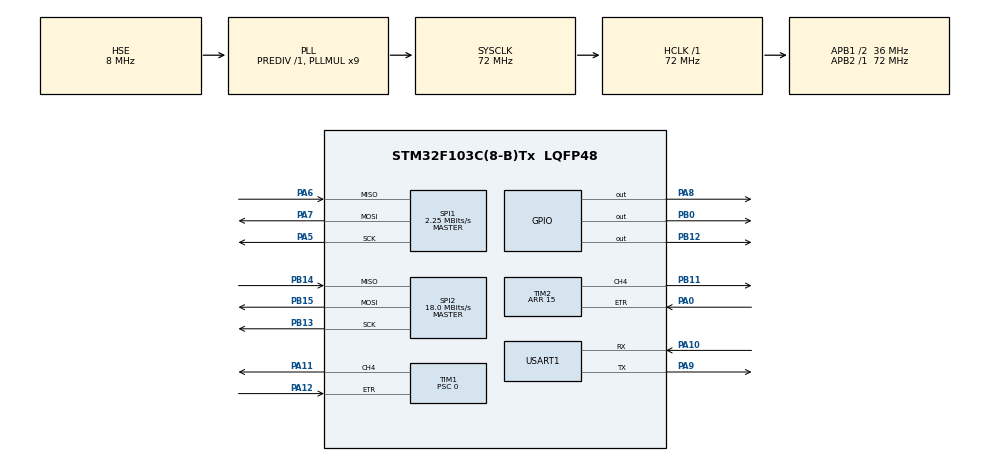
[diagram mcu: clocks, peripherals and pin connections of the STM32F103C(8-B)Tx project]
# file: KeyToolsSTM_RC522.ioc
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Dma.Request0=USART1_RX
Dma.USART1_RX.0.Direction=DMA_PERIPH_TO_MEMORY
Dma.USART1_RX.0.Instance=DMA1_Channel5
Dma.USART1_RX.0.MemDataAlignment=DMA_MDATAALIGN_BYTE
Dma.USART1_RX.0.MemInc=DMA_MINC_ENABLE
Dma.USART1_RX.0.Mode=DMA_NORMAL
Dma.USART1_RX.0.PeriphDataAlignment=DMA_PDATAALIGN_BYTE
Dma.USART1_RX.0.PeriphInc=DMA_PINC_DISABLE
Dma.USART1_RX.0.Priority=DMA_PRIORITY_LOW
Mcu.Family=STM32F1
Mcu.Name=STM32F103C(8-B)Tx
Mcu.Package=LQFP48
NVIC.DMA1_Channel5_IRQn=true\:0\:0\:false\:false\:true\:false\:true
NVIC.PriorityGroup=NVIC_PRIORITYGROUP_4
PA0-WKUP.Signal=S_TIM2_CH1_ETR
PA10.Mode=Asynchronous
PA10.Signal=USART1_RX
PA11.GPIO_Speed=GPIO_SPEED_FREQ_HIGH
PA11.Signal=S_TIM1_CH4
PA12.Signal=S_TIM1_ETR
PA13.Mode=Serial_Wire
PA13.Signal=SYS_JTMS-SWDIO
PA14.Mode=Serial_Wire
PA14.Signal=SYS_JTCK-SWCLK
PA5.Mode=Full_Duplex_Master
PA5.Signal=SPI1_SCK
PA6.Mode=Full_Duplex_Master
PA6.Signal=SPI1_MISO
PA7.Mode=Full_Duplex_Master
PA7.Signal=SPI1_MOSI
PA8.Signal=GPIO_Output
PA9.Mode=Asynchronous
PA9.Signal=USART1_TX
PB0.GPIO_Speed=GPIO_SPEED_FREQ_HIGH
PB0.Signal=GPIO_Output
PB11.GPIO_Speed=GPIO_SPEED_FREQ_HIGH
PB11.Signal=S_TIM2_CH4
PB12.Signal=GPIO_Output
PB13.Mode=Full_Duplex_Master
PB13.Signal=SPI2_SCK
PB14.Mode=Full_Duplex_Master
PB14.Signal=SPI2_MISO
PB15.Mode=Full_Duplex_Master
PB15.Signal=SPI2_MOSI
PD0-OSC_IN.Mode=HSE-External-Oscillator
PD0-OSC_IN.Signal=RCC_OSC_IN
PD1-OSC_OUT.Mode=HSE-External-Oscillator
PD1-OSC_OUT.Signal=RCC_OSC_OUT
ProjectManager.HeapSize=0x400
ProjectManager.StackSize=0x800
ProjectManager.TargetToolchain=EWARM V7
RCC.AHBFreq_Value=72000000
RCC.APB1CLKDivider=RCC_HCLK_DIV2
RCC.APB1Freq_Value=36000000
RCC.APB1TimFreq_Value=72000000
RCC.APB2Freq_Value=72000000
RCC.APB2TimFreq_Value=72000000
RCC.HCLKFreq_Value=72000000
RCC.PLLMUL=RCC_PLL_MUL9
RCC.PLLSourceVirtual=RCC_PLLSOURCE_HSE
RCC.SYSCLKFreq_VALUE=72000000
RCC.SYSCLKSource=RCC_SYSCLKSOURCE_PLLCLK
RCC.USBFreq_Value=72000000
SH.S_TIM1_CH4.0=TIM1_CH4,Output Compare4 CH4
SH.S_TIM1_ETR.0=TIM1_ETR,ClockSourceETR_Mode2
SH.S_TIM2_CH1_ETR.0=TIM2_ETR,ClockSourceETR_Mode2
SH.S_TIM2_CH4.0=TIM2_CH4,PWM Generation4 CH4
SPI1.BaudRatePrescaler=SPI_BAUDRATEPRESCALER_32
SPI1.CalculateBaudRate=2.25 MBits/s
SPI1.Direction=SPI_DIRECTION_2LINES
SPI1.FirstBit=SPI_FIRSTBIT_LSB
SPI1.Mode=SPI_MODE_MASTER
SPI1.VirtualType=VM_MASTER
SPI2.CalculateBaudRate=18.0 MBits/s
SPI2.Direction=SPI_DIRECTION_2LINES
SPI2.Mode=SPI_MODE_MASTER
SPI2.VirtualType=VM_MASTER
TIM1.Channel-Output\ Compare4\ CH4=TIM_CHANNEL_4
TIM1.OCIdleState_4=TIM_OCIDLESTATE_SET
TIM1.OCMode_4=TIM_OCMODE_TOGGLE
TIM1.OCPolarity_4=TIM_OCPOLARITY_LOW
TIM1.Period=65535
TIM1.Prescaler=0
TIM1.Pulse-Output\ Compare4\ CH4=65535
TIM1.TIM_MasterOutputTrigger=TIM_TRGO_OC4REF
TIM1.TIM_MasterSlaveMode=TIM_MASTERSLAVEMODE_DISABLE
TIM2.Channel-PWM\ Generation4\ CH4=TIM_CHANNEL_4
TIM2.OCPolarity_4=TIM_OCPOLARITY_HIGH
TIM2.Period=15
TIM2.Pulse-PWM\ Generation4\ CH4=7
USART1.VirtualMode=VM_ASYNC
VP_TIM2_VS_ClockSourceITR.Mode=TriggerSource_ITR0
VP_TIM2_VS_ControllerModeGated.Mode=Gated Mode
board=custom

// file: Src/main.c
/* USER CODE BEGIN Header */
#define DEBUG
/* USER CODE END Header */

#include "main.h"

/* USER CODE BEGIN Includes */

#include "pn532.h"
#include <MifGrabber.h>
#include "KeyTools.h"
#include "RC522.h"

/* USER CODE END Includes */

SPI_HandleTypeDef hspi1;
SPI_HandleTypeDef hspi2;

TIM_HandleTypeDef htim1;
TIM_HandleTypeDef htim2;

UART_HandleTypeDef huart1;
DMA_HandleTypeDef hdma_usart1_rx;

/* USER CODE BEGIN PV */

extern uint8_t Rx[64];
extern uint8_t RxOK, GtCmd;
extern uint16_t  fv_1;
uint8_t Wait_Tag[] = {"\n\rWaiting Tag"};
uint8_t N_con_A[] = {"\n\rNot connected PN532_A\n\r"};
uint8_t N_con_B[] = {"\n\rNot connected RC522_A\n\r"};
uint8_t CRLF[] = {'\n','\r'};
uint8_t RC522;

/* USER CODE END PV */

void SystemClock_Config(void);
static void MX_GPIO_Init(void);
static void MX_DMA_Init(void);
static void MX_TIM2_Init(void);
static void MX_SPI1_Init(void);
static void MX_USART1_UART_Init(void);
static void MX_TIM1_Init(void);
static void MX_SPI2_Init(void);

int main(void)
{
  /* USER CODE BEGIN 1 */
	  uint8_t i = 0;

  /* USER CODE END 1 */

  /* MCU Configuration--------------------------------------------------------*/

  /* Reset of all peripherals, Initializes the Flash interface and the Systick. */
  HAL_Init();

  /* Configure the system clock */
  SystemClock_Config();

  /* Initialize all configured peripherals */
  MX_GPIO_Init();
  MX_DMA_Init();
  MX_TIM2_Init();
  MX_SPI1_Init();
  MX_USART1_UART_Init();
  MX_TIM1_Init();
  MX_SPI2_Init();
  /* USER CODE BEGIN 2 */

  CS_LOW(&hspi1);
  HAL_Delay(1);
  CS_HIGH(&hspi1);

  for(i = 0;(i < 5) && !(fv_1 = getFirmwareVersion(&hspi1, 1000)); i++);			// Проверка подключения PN532
  if(i == 5){
	   HAL_UART_Transmit(&huart1,N_con_A,(sizeof(N_con_A) - 1),1000);
	   HAL_SPI_MspDeInit(&hspi1);
	   HAL_TIM_Base_MspDeInit(&htim1);
	   HAL_TIM_Base_MspDeInit(&htim2);
	   HAL_UART_MspDeInit(&huart1);
	   HAL_GPIO_DeInit(GPIOB, GPIO_PIN_0|GPIO_PIN_10);
	   while(1){
		   __WFI();
	   }
  }

  PCD_Init(&hspi2,1000);
  RC522 = 0;
  if(PCD_PerformSelfTest(&hspi2, 1000)){
	  RC522 = 1;
  }
  PCD_Init(&hspi2,1000);

  /* USER CODE END 2 */

  /* Infinite loop */
  /* USER CODE BEGIN WHILE */

		RxOK = 0;
		GtCmd = 0;
		HAL_UART_Receive_DMA(&huart1, Rx, 3);

  while (1)
  {
//	  em();
	  if(RxOK){
		  keytools();
		  RxOK = 0;
		  GtCmd = 0;
		  HAL_UART_Receive_DMA(&huart1, Rx, 3);
	  }

    /* USER CODE END WHILE */

  }
}

void SystemClock_Config(void)
{
  RCC_OscInitTypeDef RCC_OscInitStruct = {0};
  RCC_ClkInitTypeDef RCC_ClkInitStruct = {0};

  /** Initializes the CPU, AHB and APB busses clocks
  */
  RCC_OscInitStruct.OscillatorType = RCC_OSCILLATORTYPE_HSE;
  RCC_OscInitStruct.HSEState = RCC_HSE_ON;
  RCC_OscInitStruct.HSEPredivValue = RCC_HSE_PREDIV_DIV1;
  RCC_OscInitStruct.HSIState = RCC_HSI_ON;
  RCC_OscInitStruct.PLL.PLLState = RCC_PLL_ON;
  RCC_OscInitStruct.PLL.PLLSource = RCC_PLLSOURCE_HSE;
  RCC_OscInitStruct.PLL.PLLMUL = RCC_PLL_MUL9;
  if (HAL_RCC_OscConfig(&RCC_OscInitStruct) != HAL_OK)
  {
    Error_Handler();
  }
  /** Initializes the CPU, AHB and APB busses clocks
  */
  RCC_ClkInitStruct.ClockType = RCC_CLOCKTYPE_HCLK|RCC_CLOCKTYPE_SYSCLK
                              |RCC_CLOCKTYPE_PCLK1|RCC_CLOCKTYPE_PCLK2;
  RCC_ClkInitStruct.SYSCLKSource = RCC_SYSCLKSOURCE_PLLCLK;
  RCC_ClkInitStruct.AHBCLKDivider = RCC_SYSCLK_DIV1;
  RCC_ClkInitStruct.APB1CLKDivider = RCC_HCLK_DIV2;
  RCC_ClkInitStruct.APB2CLKDivider = RCC_HCLK_DIV1;

  if (HAL_RCC_ClockConfig(&RCC_ClkInitStruct, FLASH_LATENCY_2) != HAL_OK)
  {
    Error_Handler();
  }
}

static void MX_SPI1_Init(void)
{

  /* SPI1 parameter configuration*/
  hspi1.Instance = SPI1;
  hspi1.Init.Mode = SPI_MODE_MASTER;
  hspi1.Init.Direction = SPI_DIRECTION_2LINES;
  hspi1.Init.DataSize = SPI_DATASIZE_8BIT;
  hspi1.Init.CLKPolarity = SPI_POLARITY_LOW;
  hspi1.Init.CLKPhase = SPI_PHASE_1EDGE;
  hspi1.Init.NSS = SPI_NSS_SOFT;
  hspi1.Init.BaudRatePrescaler = SPI_BAUDRATEPRESCALER_32;
  hspi1.Init.FirstBit = SPI_FIRSTBIT_LSB;
  hspi1.Init.TIMode = SPI_TIMODE_DISABLE;
  hspi1.Init.CRCCalculation = SPI_CRCCALCULATION_DISABLE;
  hspi1.Init.CRCPolynomial = 10;
  if (HAL_SPI_Init(&hspi1) != HAL_OK)
  {
    Error_Handler();
  }

}

static void MX_SPI2_Init(void)
{

  /* SPI2 parameter configuration*/
  hspi2.Instance = SPI2;
  hspi2.Init.Mode = SPI_MODE_MASTER;
  hspi2.Init.Direction = SPI_DIRECTION_2LINES;
  hspi2.Init.DataSize = SPI_DATASIZE_8BIT;
  hspi2.Init.CLKPolarity = SPI_POLARITY_LOW;
  hspi2.Init.CLKPhase = SPI_PHASE_1EDGE;
  hspi2.Init.NSS = SPI_NSS_SOFT;
  hspi2.Init.BaudRatePrescaler = SPI_BAUDRATEPRESCALER_2;
  hspi2.Init.FirstBit = SPI_FIRSTBIT_MSB;
  hspi2.Init.TIMode = SPI_TIMODE_DISABLE;
  hspi2.Init.CRCCalculation = SPI_CRCCALCULATION_DISABLE;
  hspi2.Init.CRCPolynomial = 10;
  if (HAL_SPI_Init(&hspi2) != HAL_OK)
  {
    Error_Handler();
  }

}

static void MX_TIM1_Init(void)
{

  TIM_ClockConfigTypeDef sClockSourceConfig = {0};
  TIM_MasterConfigTypeDef sMasterConfig = {0};
  TIM_OC_InitTypeDef sConfigOC = {0};
  TIM_BreakDeadTimeConfigTypeDef sBreakDeadTimeConfig = {0};

  htim1.Instance = TIM1;
  htim1.Init.Prescaler = 0;
  htim1.Init.CounterMode = TIM_COUNTERMODE_UP;
  htim1.Init.Period = 65535;
  htim1.Init.ClockDivision = TIM_CLOCKDIVISION_DIV1;
  htim1.Init.RepetitionCounter = 0;
  htim1.Init.AutoReloadPreload = TIM_AUTORELOAD_PRELOAD_DISABLE;
  if (HAL_TIM_Base_Init(&htim1) != HAL_OK)
  {
    Error_Handler();
  }
  sClockSourceConfig.ClockSource = TIM_CLOCKSOURCE_ETRMODE2;
  sClockSourceConfig.ClockPolarity = TIM_CLOCKPOLARITY_NONINVERTED;
  sClockSourceConfig.ClockPrescaler = TIM_CLOCKPRESCALER_DIV1;
  sClockSourceConfig.ClockFilter = 0;
  if (HAL_TIM_ConfigClockSource(&htim1, &sClockSourceConfig) != HAL_OK)
  {
    Error_Handler();
  }
  if (HAL_TIM_OC_Init(&htim1) != HAL_OK)
  {
    Error_Handler();
  }
  sMasterConfig.MasterOutputTrigger = TIM_TRGO_OC4REF;
  sMasterConfig.MasterSlaveMode = TIM_MASTERSLAVEMODE_DISABLE;
  if (HAL_TIMEx_MasterConfigSynchronization(&htim1, &sMasterConfig) != HAL_OK)
  {
    Error_Handler();
  }
  sConfigOC.OCMode = TIM_OCMODE_TOGGLE;
  sConfigOC.Pulse = 65535;
  sConfigOC.OCPolarity = TIM_OCPOLARITY_LOW;
  sConfigOC.OCFastMode = TIM_OCFAST_DISABLE;
  sConfigOC.OCIdleState = TIM_OCIDLESTATE_SET;
  sConfigOC.OCNIdleState = TIM_OCNIDLESTATE_RESET;
  if (HAL_TIM_OC_ConfigChannel(&htim1, &sConfigOC, TIM_CHANNEL_4) != HAL_OK)
  {
    Error_Handler();
  }
  sBreakDeadTimeConfig.OffStateRunMode = TIM_OSSR_DISABLE;
  sBreakDeadTimeConfig.OffStateIDLEMode = TIM_OSSI_DISABLE;
  sBreakDeadTimeConfig.LockLevel = TIM_LOCKLEVEL_OFF;
  sBreakDeadTimeConfig.DeadTime = 0;
  sBreakDeadTimeConfig.BreakState = TIM_BREAK_DISABLE;
  sBreakDeadTimeConfig.BreakPolarity = TIM_BREAKPOLARITY_HIGH;
  sBreakDeadTimeConfig.AutomaticOutput = TIM_AUTOMATICOUTPUT_DISABLE;
  if (HAL_TIMEx_ConfigBreakDeadTime(&htim1, &sBreakDeadTimeConfig) != HAL_OK)
  {
    Error_Handler();
  }
  HAL_TIM_MspPostInit(&htim1);

}

static void MX_TIM2_Init(void)
{

  TIM_ClockConfigTypeDef sClockSourceConfig = {0};
  TIM_SlaveConfigTypeDef sSlaveConfig = {0};
  TIM_MasterConfigTypeDef sMasterConfig = {0};
  TIM_OC_InitTypeDef sConfigOC = {0};

  htim2.Instance = TIM2;
  htim2.Init.Prescaler = 0;
  htim2.Init.CounterMode = TIM_COUNTERMODE_UP;
  htim2.Init.Period = 15;
  htim2.Init.ClockDivision = TIM_CLOCKDIVISION_DIV1;
  htim2.Init.AutoReloadPreload = TIM_AUTORELOAD_PRELOAD_DISABLE;
  if (HAL_TIM_Base_Init(&htim2) != HAL_OK)
  {
    Error_Handler();
  }
  sClockSourceConfig.ClockSource = TIM_CLOCKSOURCE_ETRMODE2;
  sClockSourceConfig.ClockPolarity = TIM_CLOCKPOLARITY_NONINVERTED;
  sClockSourceConfig.ClockPrescaler = TIM_CLOCKPRESCALER_DIV1;
  sClockSourceConfig.ClockFilter = 0;
  if (HAL_TIM_ConfigClockSource(&htim2, &sClockSourceConfig) != HAL_OK)
  {
    Error_Handler();
  }
  if (HAL_TIM_PWM_Init(&htim2) != HAL_OK)
  {
    Error_Handler();
  }
  sSlaveConfig.SlaveMode = TIM_SLAVEMODE_GATED;
  sSlaveConfig.InputTrigger = TIM_TS_ITR0;
  if (HAL_TIM_SlaveConfigSynchronization(&htim2, &sSlaveConfig) != HAL_OK)
  {
    Error_Handler();
  }
  sMasterConfig.MasterOutputTrigger = TIM_TRGO_RESET;
  sMasterConfig.MasterSlaveMode = TIM_MASTERSLAVEMODE_DISABLE;
  if (HAL_TIMEx_MasterConfigSynchronization(&htim2, &sMasterConfig) != HAL_OK)
  {
    Error_Handler();
  }
  sConfigOC.OCMode = TIM_OCMODE_PWM1;
  sConfigOC.Pulse = 7;
  sConfigOC.OCPolarity = TIM_OCPOLARITY_HIGH;
  sConfigOC.OCFastMode = TIM_OCFAST_DISABLE;
  if (HAL_TIM_PWM_ConfigChannel(&htim2, &sConfigOC, TIM_CHANNEL_4) != HAL_OK)
  {
    Error_Handler();
  }
  HAL_TIM_MspPostInit(&htim2);

}

static void MX_USART1_UART_Init(void)
{

  huart1.Instance = USART1;
  huart1.Init.BaudRate = 115200;
  huart1.Init.WordLength = UART_WORDLENGTH_8B;
  huart1.Init.StopBits = UART_STOPBITS_1;
  huart1.Init.Parity = UART_PARITY_NONE;
  huart1.Init.Mode = UART_MODE_TX_RX;
  huart1.Init.HwFlowCtl = UART_HWCONTROL_NONE;
  huart1.Init.OverSampling = UART_OVERSAMPLING_16;
  if (HAL_UART_Init(&huart1) != HAL_OK)
  {
    Error_Handler();
  }

}

static void MX_DMA_Init(void)
{
  /* DMA controller clock enable */
  __HAL_RCC_DMA1_CLK_ENABLE();

  /* DMA interrupt init */
  /* DMA1_Channel5_IRQn interrupt configuration */
  HAL_NVIC_SetPriority(DMA1_Channel5_IRQn, 0, 0);
  HAL_NVIC_EnableIRQ(DMA1_Channel5_IRQn);

}

static void MX_GPIO_Init(void)
{
  GPIO_InitTypeDef GPIO_InitStruct = {0};

  /* GPIO Ports Clock Enable */
  __HAL_RCC_GPIOD_CLK_ENABLE();
  __HAL_RCC_GPIOA_CLK_ENABLE();
  __HAL_RCC_GPIOB_CLK_ENABLE();

  /*Configure GPIO pin Output Level */
  HAL_GPIO_WritePin(GPIOB, GPIO_PIN_0|GPIO_PIN_12, GPIO_PIN_RESET);

  /*Configure GPIO pin Output Level */
  HAL_GPIO_WritePin(GPIOA, GPIO_PIN_8, GPIO_PIN_RESET);

  /*Configure GPIO pin : PB0 */
  GPIO_InitStruct.Pin = GPIO_PIN_0;
  GPIO_InitStruct.Mode = GPIO_MODE_OUTPUT_PP;
  GPIO_InitStruct.Pull = GPIO_NOPULL;
  GPIO_InitStruct.Speed = GPIO_SPEED_FREQ_HIGH;
  HAL_GPIO_Init(GPIOB, &GPIO_InitStruct);

  /*Configure GPIO pin : PB12 */
  GPIO_InitStruct.Pin = GPIO_PIN_12;
  GPIO_InitStruct.Mode = GPIO_MODE_OUTPUT_PP;
  GPIO_InitStruct.Pull = GPIO_NOPULL;
  GPIO_InitStruct.Speed = GPIO_SPEED_FREQ_LOW;
  HAL_GPIO_Init(GPIOB, &GPIO_InitStruct);

  /*Configure GPIO pin : PA8 */
  GPIO_InitStruct.Pin = GPIO_PIN_8;
  GPIO_InitStruct.Mode = GPIO_MODE_OUTPUT_PP;
  GPIO_InitStruct.Pull = GPIO_NOPULL;
  GPIO_InitStruct.Speed = GPIO_SPEED_FREQ_LOW;
  HAL_GPIO_Init(GPIOA, &GPIO_InitStruct);

}

void Error_Handler(void)
{
}

/************************ (C) COPYRIGHT STMicroelectronics *****END OF FILE****/
